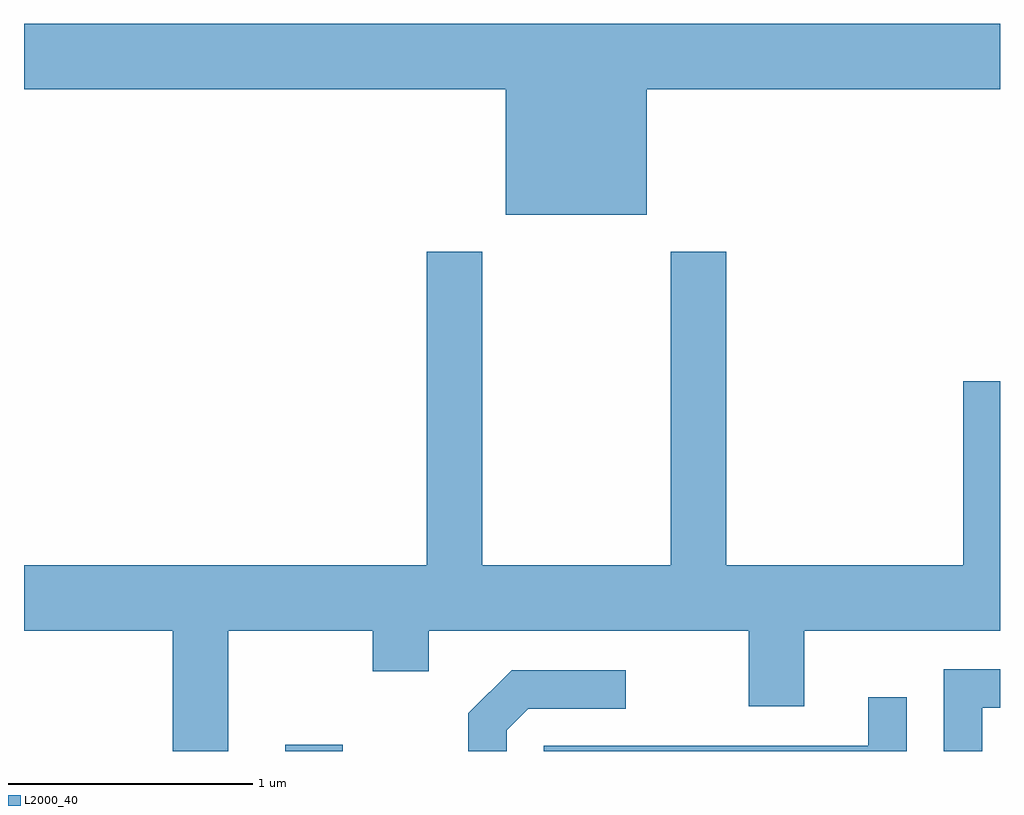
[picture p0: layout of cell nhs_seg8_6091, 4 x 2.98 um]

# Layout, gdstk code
import gdstk
lib = gdstk.Library(unit=1e-6, precision=1e-09)
def R(c, l, rs):  # rectangles x0, y0, x1, y1
    for r in rs: c.add(gdstk.rectangle(r[:2], r[2:], *l))
def P(c, l, *ps):  # polygons
    for p in ps: c.add(gdstk.Polygon(p, *l))
L2000_40 = (2000, 40)

nhs_seg8_6091 = lib.new_cell('nhs_seg8_6091')
R(nhs_seg8_6091, L2000_40, [(368.681,1860.342,368.918,1860.369)])
P(nhs_seg8_6091, L2000_40, [(370.164,1863.056),(371.611,1863.056),(371.611,1863.324),(367.611,1863.324),(367.611,1863.056),(369.586,1863.056),(369.586,1862.541),(370.164,1862.541)],
  [(368.449,1860.836),(369.041,1860.836),(369.041,1860.671),(369.269,1860.671),(369.269,1860.836),(370.581,1860.836),(370.581,1860.526),(370.809,1860.526),(370.809,1860.836),(371.611,1860.836),(371.611,1861.859),(371.461,1861.859),(371.461,1861.104),(370.489,1861.104),(370.489,1862.389),(370.261,1862.389),(370.261,1861.104),(369.489,1861.104),(369.489,1862.389),(369.261,1862.389),(369.261,1861.104),(367.611,1861.104),(367.611,1860.836),(368.221,1860.836),(368.221,1860.342),(368.449,1860.342)],
  [(371.539,1860.521),(371.611,1860.521),(371.611,1860.679),(371.381,1860.679),(371.381,1860.342),(371.539,1860.342)],
  [(369.589,1860.429),(369.677,1860.516),(370.078,1860.516),(370.078,1860.674),(369.609,1860.674),(369.431,1860.497),(369.431,1860.342),(369.589,1860.342)],
  [(371.229,1860.563),(371.071,1860.563),(371.071,1860.364),(369.741,1860.364),(369.741,1860.342),(371.229,1860.342)])

lib.write_gds('nhs_seg8_6091.gds')
